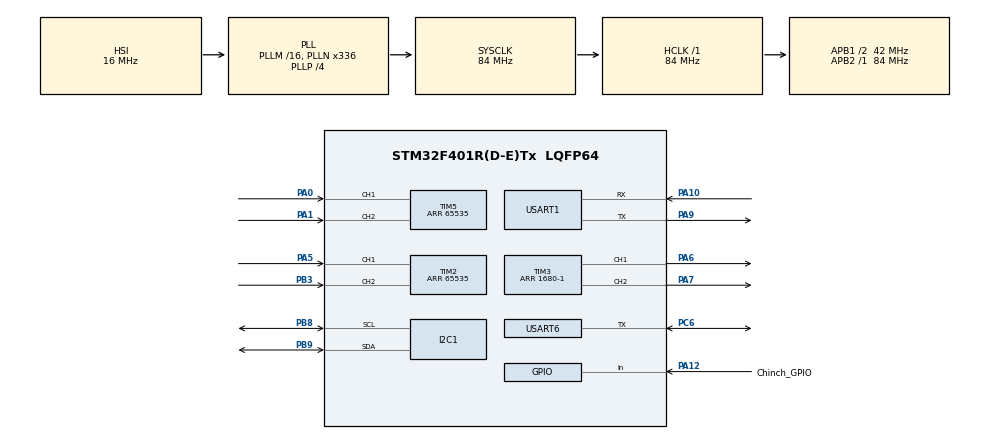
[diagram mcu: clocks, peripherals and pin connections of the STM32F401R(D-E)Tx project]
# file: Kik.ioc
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Mcu.Family=STM32F4
Mcu.Name=STM32F401R(D-E)Tx
Mcu.Package=LQFP64
NVIC.PriorityGroup=NVIC_PRIORITYGROUP_4
NVIC.TIM1_UP_TIM10_IRQn=true\:0\:0\:false\:false\:true\:true\:true\:true
PA0-WKUP.Signal=S_TIM5_CH1
PA1.Signal=S_TIM5_CH2
PA10.Mode=Asynchronous
PA10.Signal=USART1_RX
PA12.GPIO_Label=Chinch_GPIO
PA12.GPIO_PuPd=GPIO_PULLDOWN
PA12.Signal=GPIO_Input
PA5.Signal=S_TIM2_CH1_ETR
PA6.Signal=S_TIM3_CH1
PA7.Signal=S_TIM3_CH2
PA9.Mode=Asynchronous
PA9.Signal=USART1_TX
PB3.Signal=S_TIM2_CH2
PB8.Mode=I2C
PB8.Signal=I2C1_SCL
PB9.Mode=I2C
PB9.Signal=I2C1_SDA
PC6.GPIO_PuPd=GPIO_PULLUP
PC6.Mode=Half_duplex(single_wire_mode)
PC6.Signal=USART6_TX
ProjectManager.HeapSize=0x200
ProjectManager.StackSize=0x400
ProjectManager.TargetToolchain=STM32CubeIDE
RCC.48MHZClocksFreq_Value=48000000
RCC.AHBFreq_Value=84000000
RCC.APB1CLKDivider=RCC_HCLK_DIV2
RCC.APB1Freq_Value=42000000
RCC.APB1TimFreq_Value=84000000
RCC.APB2Freq_Value=84000000
RCC.APB2TimFreq_Value=84000000
RCC.CortexFreq_Value=84000000
RCC.HCLKFreq_Value=84000000
RCC.HSE_VALUE=8000000
RCC.HSI_VALUE=16000000
RCC.LSE_VALUE=32768
RCC.PLLN=336
RCC.PLLP=RCC_PLLP_DIV4
RCC.PLLQ=7
RCC.SYSCLKFreq_VALUE=84000000
RCC.SYSCLKSource=RCC_SYSCLKSOURCE_PLLCLK
RCC.VCOOutputFreq_Value=336000000
SH.S_TIM2_CH1_ETR.0=TIM2_CH1,Encoder_Interface
SH.S_TIM2_CH2.0=TIM2_CH2,Encoder_Interface
SH.S_TIM3_CH1.0=TIM3_CH1,PWM Generation1 CH1
SH.S_TIM3_CH2.0=TIM3_CH2,PWM Generation2 CH2
SH.S_TIM5_CH1.0=TIM5_CH1,Encoder_Interface
SH.S_TIM5_CH2.0=TIM5_CH2,Encoder_Interface
TIM10.Period=1000-1
TIM10.Prescaler=84-1
TIM2.EncoderMode=TIM_ENCODERMODE_TI12
TIM2.IC1Polarity=TIM_ICPOLARITY_FALLING
TIM2.Period=65535
TIM3.AutoReloadPreload=TIM_AUTORELOAD_PRELOAD_ENABLE
TIM3.Channel-PWM\ Generation1\ CH1=TIM_CHANNEL_1
TIM3.Channel-PWM\ Generation2\ CH2=TIM_CHANNEL_2
TIM3.Period=1680-1
TIM5.EncoderMode=TIM_ENCODERMODE_TI12
TIM5.Period=65535
USART1.VirtualMode=VM_ASYNC
USART6.BaudRate=9600
USART6.VirtualMode=VM_ASYNC
VP_TIM10_VS_ClockSourceINT.Mode=Enable_Timer
VP_TIM3_VS_ClockSourceINT.Mode=Internal
board=NUCLEO-F401RE

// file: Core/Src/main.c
/* USER CODE BEGIN Header */
/**
 ******************************************************************************
 * @file           : main.c
 * @brief          : Main program body
 ******************************************************************************
 * @attention
 *
 * Copyright (c) 2026 STMicroelectronics.
 * All rights reserved.
 *
 * This software is licensed under terms that can be found in the LICENSE file
 * in the root directory of this software component.
 * If no LICENSE file comes with this software, it is provided AS-IS.
 *
 ******************************************************************************
 */
/* USER CODE END Header */
#include "main.h"
#include "i2c.h"
#include "tim.h"
#include "usart.h"
#include "gpio.h"

/* USER CODE BEGIN Includes */

#include "chinch.h"
#include "encoder.h"
#include "timer.h"
#include "pwm.h"
#include "odometrija.h"
#include "ax.h"
#include "comm.h"
#include "watchdog.h"
/* USER CODE END Includes */

/* USER CODE BEGIN PV */
volatile uint16_t ax_position = 55;
volatile uint16_t ax_speed = 200;
volatile uint8_t id = 0;
volatile float x_main=0;
volatile float y_main=0;
volatile float phi_main=0;
float id_dis = 2.0;
float erl = 0;
float err = 0;
/* USER CODE END PV */

void SystemClock_Config(void);

int main(void) {

	/* MCU Configuration--------------------------------------------------------*/

	/* Reset of all peripherals, Initializes the Flash interface and the Systick. */
	HAL_Init();

	/* Configure the system clock */
	SystemClock_Config();

	/* Initialize all configured peripherals */
	MX_GPIO_Init();
	MX_TIM10_Init();
	MX_TIM2_Init();
	MX_TIM5_Init();
	MX_TIM3_Init();
	MX_I2C1_Init();
	MX_USART1_UART_Init();
	MX_USART6_UART_Init();

	/* USER CODE BEGIN 2 */

	time_start();
	encoder_init();
	pwm_init();
	ax_init ();

	comm_init();      // ESP na USART1; bez ESP-a Nucleo radi isto kao ranije
	watchdog_init();  // poslednje, posle sporih inicijalizacija

	/* USER CODE END 2 */

	/* Infinite loop */
	while (1) {

		/* USER CODE BEGIN 3 */
		comm_poll();
		watchdog_feed();
		x_main = get_x_pos_rob();
		y_main = get_y_pos_rob();
		phi_main = get_phi_pos_rob();
		erl = error_left(id_dis);
		err = error_right(id_dis);
		front_mechanism();
	}
	/* USER CODE END 3 */
}

void SystemClock_Config(void) {
	RCC_OscInitTypeDef RCC_OscInitStruct = { 0 };
	RCC_ClkInitTypeDef RCC_ClkInitStruct = { 0 };

	/** Configure the main internal regulator output voltage
	 */
	__HAL_RCC_PWR_CLK_ENABLE();
	__HAL_PWR_VOLTAGESCALING_CONFIG(PWR_REGULATOR_VOLTAGE_SCALE2);

	/** Initializes the RCC Oscillators according to the specified parameters
	 * in the RCC_OscInitTypeDef structure.
	 */
	RCC_OscInitStruct.OscillatorType = RCC_OSCILLATORTYPE_HSI;
	RCC_OscInitStruct.HSIState = RCC_HSI_ON;
	RCC_OscInitStruct.HSICalibrationValue = RCC_HSICALIBRATION_DEFAULT;
	RCC_OscInitStruct.PLL.PLLState = RCC_PLL_ON;
	RCC_OscInitStruct.PLL.PLLSource = RCC_PLLSOURCE_HSI;
	RCC_OscInitStruct.PLL.PLLM = 16;
	RCC_OscInitStruct.PLL.PLLN = 336;
	RCC_OscInitStruct.PLL.PLLP = RCC_PLLP_DIV4;
	RCC_OscInitStruct.PLL.PLLQ = 7;
	if (HAL_RCC_OscConfig(&RCC_OscInitStruct) != HAL_OK) {
		Error_Handler();
	}

	/** Initializes the CPU, AHB and APB buses clocks
	 */
	RCC_ClkInitStruct.ClockType = RCC_CLOCKTYPE_HCLK | RCC_CLOCKTYPE_SYSCLK
			| RCC_CLOCKTYPE_PCLK1 | RCC_CLOCKTYPE_PCLK2;
	RCC_ClkInitStruct.SYSCLKSource = RCC_SYSCLKSOURCE_PLLCLK;
	RCC_ClkInitStruct.AHBCLKDivider = RCC_SYSCLK_DIV1;
	RCC_ClkInitStruct.APB1CLKDivider = RCC_HCLK_DIV2;
	RCC_ClkInitStruct.APB2CLKDivider = RCC_HCLK_DIV1;

	if (HAL_RCC_ClockConfig(&RCC_ClkInitStruct, FLASH_LATENCY_2) != HAL_OK) {
		Error_Handler();
	}
}

void Error_Handler(void) {
	__disable_irq();
	while (1) {
	}
}
#ifdef USE_FULL_ASSERT
/**
  * @brief  Reports the name of the source file and the source line number
  *         where the assert_param error has occurred.
  * @param  file: pointer to the source file name
  * @param  line: assert_param error line source number
  * @retval None
  */
void assert_failed(uint8_t *file, uint32_t line)
{
  /* USER CODE BEGIN 6 */

    /* User can add his own implementation to report the file name
       and the source line number, ex:
       printf("Wrong parameters value: file %s on line %d\r\n", file, line) */

  /* USER CODE END 6 */
}
#endif /* USE_FULL_ASSERT */
